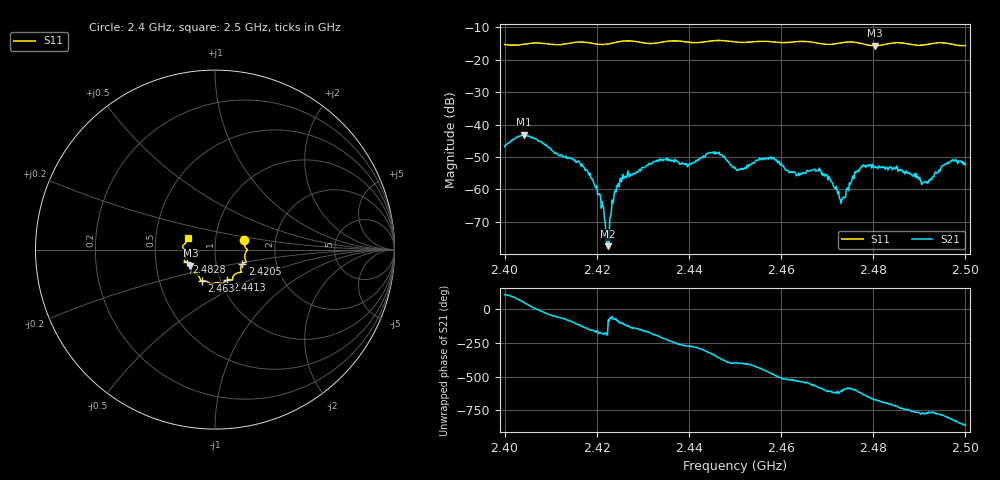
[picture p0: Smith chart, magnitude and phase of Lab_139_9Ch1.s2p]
# Hz S RI R 50
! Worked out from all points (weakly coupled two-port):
!   601 points, 2.4 GHz to 2.5 GHz, reference 50 ohm
!   highest |S21| = -43.14 dB at 2.4042 GHz (marker M1); lowest = -77.5 dB at 2.4223 GHz (marker M2)
!   lowest |S11| = -15.7 dB at 2.4803 GHz (marker M3), VSWR 1.39, Z = 37.4 - j6.84 ohm
!   |S11| at or under -10 dB: start of sweep to end of sweep
!   S12 and S22 are empty: the file has one direction only
!   S11 on the Smith chart (normalised r, x): 2.4 GHz: 1.38, +0.15; 2.4205 GHz: 1.34, -0.22; 2.4413 GHz: 1.08, -0.38; 2.463 GHz: 0.82, -0.29; 2.4828 GHz: 0.72, -0.10; 2.5 GHz: 0.73, +0.10
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2.4e9  0.163 0.0526  -0.00131 0.00437  0 0  0 0
2.404167e9  0.1721 0.0086  0.0046 0.00523  0 0  0 0
2.416667e9  0.1734 -0.0698  -0.00132 -0.00186  0 0  0 0
2.4205e9  0.1519 -0.0809  -0.000859 -3.74e-05  0 0  0 0
2.422333e9  0.1435 -0.0979  -0.000133 1.9e-05  0 0  0 0
2.423833e9  0.1436 -0.1131  0.000253 -0.000854  0 0  0 0
2.425167e9  0.1464 -0.1224  -0.000321 -0.00147  0 0  0 0
2.433333e9  0.1003 -0.1515  -0.00269 0.000836  0 0  0 0
2.441333e9  0.0677 -0.1695  0.000641 0.00257  0 0  0 0
2.446167e9  0.0417 -0.1929  0.00354 0.000349  0 0  0 0
2.45e9  0.0247 -0.1856  0.00166 -0.00143  0 0  0 0
2.458e9  -0.0306 -0.1856  -0.0014 -0.00258  0 0  0 0
2.463e9  -0.0721 -0.1736  -0.00178 -0.000364  0 0  0 0
2.466667e9  -0.0816 -0.1673  -0.00189 0.000655  0 0  0 0
2.473167e9  -0.1276 -0.1301  -0.00022 0.000648  0 0  0 0
2.4765e9  -0.1323 -0.1261  -0.00076 0.00179  0 0  0 0
2.480333e9  -0.1372 -0.089  0.00149 0.00164  0 0  0 0
2.482833e9  -0.1585 -0.0701  0.00203 0.000854  0 0  0 0
2.483333e9  -0.1624 -0.0682  0.00197 0.000617  0 0  0 0
2.491e9  -0.1684 -0.00965  0.000704 -0.00107  0 0  0 0
2.497e9  -0.1711 0.0291  -0.000327 -0.00268  0 0  0 0
2.5e9  -0.1519 0.064  -0.00188 -0.00145  0 0  0 0
